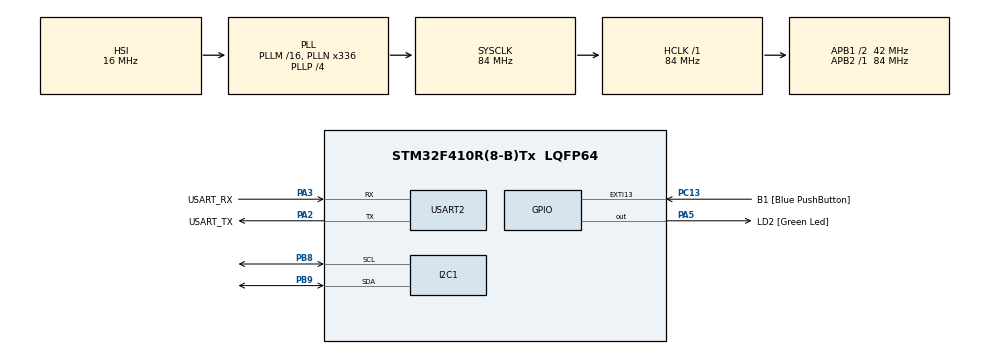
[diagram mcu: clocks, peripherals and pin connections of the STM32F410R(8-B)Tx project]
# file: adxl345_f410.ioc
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Mcu.Family=STM32F4
Mcu.Name=STM32F410R(8-B)Tx
Mcu.Package=LQFP64
NVIC.PriorityGroup=NVIC_PRIORITYGROUP_0
PA13.GPIO_Label=TMS
PA13.Mode=Serial_Wire
PA13.Signal=SYS_JTMS-SWDIO
PA14.GPIO_Label=TCK
PA14.Mode=Serial_Wire
PA14.Signal=SYS_JTCK-SWCLK
PA2.GPIO_Label=USART_TX
PA2.Mode=Asynchronous
PA2.Signal=USART2_TX
PA3.GPIO_Label=USART_RX
PA3.Mode=Asynchronous
PA3.Signal=USART2_RX
PA5.GPIO_Label=LD2 [Green Led]
PA5.Signal=GPIO_Output
PB3.GPIO_Label=SWO
PB3.Signal=SYS_JTDO-SWO
PB8.Mode=I2C
PB8.Signal=I2C1_SCL
PB9.Mode=I2C
PB9.Signal=I2C1_SDA
PC13-ANTI_TAMP.GPIO_Label=B1 [Blue PushButton]
PC13-ANTI_TAMP.GPIO_ModeDefaultEXTI=GPIO_MODE_IT_FALLING
PC13-ANTI_TAMP.Signal=GPXTI13
PC14-OSC32_IN.Mode=LSE-External-Oscillator
PC14-OSC32_IN.Signal=RCC_OSC32_IN
PC15-OSC32_OUT.Mode=LSE-External-Oscillator
PC15-OSC32_OUT.Signal=RCC_OSC32_OUT
PH0\ -\ OSC_IN.Mode=HSE-External-Clock-Source
PH0\ -\ OSC_IN.Signal=RCC_OSC_IN
PH1\ -\ OSC_OUT.Mode=HSE-External-Clock-Source
PH1\ -\ OSC_OUT.Signal=RCC_OSC_OUT
ProjectManager.HeapSize=0x200
ProjectManager.StackSize=0x400
ProjectManager.TargetToolchain=STM32CubeIDE
RCC.48MHZClocksFreq_Value=84000000
RCC.AHBFreq_Value=84000000
RCC.APB1CLKDivider=RCC_HCLK_DIV2
RCC.APB1Freq_Value=42000000
RCC.APB1TimFreq_Value=84000000
RCC.APB2Freq_Value=84000000
RCC.APB2TimFreq_Value=84000000
RCC.CortexFreq_Value=84000000
RCC.FLatency-AdvancedSettings=FLASH_LATENCY_2
RCC.HCLKFreq_Value=84000000
RCC.HSE_VALUE=8000000
RCC.HSI_VALUE=16000000
RCC.PLLN=336
RCC.PLLP=RCC_PLLP_DIV4
RCC.SYSCLKFreq_VALUE=84000000
RCC.SYSCLKSource=RCC_SYSCLKSOURCE_PLLCLK
RCC.VCOOutputFreq_Value=336000000
USART2.VirtualMode=VM_ASYNC
board=NUCLEO-F410RB

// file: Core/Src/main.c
/* USER CODE BEGIN Header */
/**
  ******************************************************************************
  * @file           : main.c
  * @brief          : Main program body
  ******************************************************************************
  * @attention
  *
  * <h2><center>&copy; Copyright (c) 2023 STMicroelectronics.
  * All rights reserved.</center></h2>
  *
  * This software component is licensed by ST under BSD 3-Clause license,
  * the "License"; You may not use this file except in compliance with the
  * License. You may obtain a copy of the License at:
  *                        opensource.org/licenses/BSD-3-Clause
  *
  ******************************************************************************
  */
/* USER CODE END Header */
#include "main.h"
#include "../ADXL345/adxl345_driver.h"

/* USER CODE BEGIN PTD */

typedef struct
{
	uint16_t x;
	uint16_t y;
	uint16_t z;
}accel_t;

/* USER CODE END PTD */

I2C_HandleTypeDef hi2c1;

UART_HandleTypeDef huart2;

/* USER CODE BEGIN PV */
uint8_t txData[10];
uint8_t rxData[6];
accel_t accel;
/* USER CODE END PV */

void SystemClock_Config(void);
static void MX_GPIO_Init(void);
static void MX_USART2_UART_Init(void);
static void MX_I2C1_Init(void);
/* USER CODE BEGIN PFP */

void parse_data (uint8_t* buffer, accel_t* a);

/* USER CODE END PFP */

int main(void)
{

  /* MCU Configuration--------------------------------------------------------*/

  /* Reset of all peripherals, Initializes the Flash interface and the Systick. */
  HAL_Init();

  /* Configure the system clock */
  SystemClock_Config();

  /* Initialize all configured peripherals */
  MX_GPIO_Init();
  MX_USART2_UART_Init();
  MX_I2C1_Init();
  /* USER CODE BEGIN 2 */

  // Handle pointer needs to be passed to use the driver
  set_i2c_handle(&hi2c1);								//! ADXL345 driver test

  // Wake up the device by writing 8 to the POWER_CTL register
  single_byte_write(ADXL345_REG_POWER_CTL, 8);			//! ADXL345 driver test

  HAL_Delay(10);

  /* USER CODE END 2 */

  /* Infinite loop */
  /* USER CODE BEGIN WHILE */
  while (1)
  {
	  // Read 3 axis measurements
	  multi_byte_read(ADXL345_REG_DATAX0, rxData, 6);	//! ADXL345 driver test

	  // Parse data to get useful information
	  // TODO: This will be refactored in the API layer
	  parse_data(rxData, &accel);						//! ADXL345 test

	  HAL_GPIO_TogglePin(LD2_GPIO_Port, LD2_Pin);
	  HAL_Delay(50);

    /* USER CODE END WHILE */

  }
}

void SystemClock_Config(void)
{
  RCC_OscInitTypeDef RCC_OscInitStruct = {0};
  RCC_ClkInitTypeDef RCC_ClkInitStruct = {0};

  /** Configure the main internal regulator output voltage
  */
  __HAL_RCC_PWR_CLK_ENABLE();
  __HAL_PWR_VOLTAGESCALING_CONFIG(PWR_REGULATOR_VOLTAGE_SCALE1);
  /** Initializes the RCC Oscillators according to the specified parameters
  * in the RCC_OscInitTypeDef structure.
  */
  RCC_OscInitStruct.OscillatorType = RCC_OSCILLATORTYPE_HSI;
  RCC_OscInitStruct.HSIState = RCC_HSI_ON;
  RCC_OscInitStruct.HSICalibrationValue = RCC_HSICALIBRATION_DEFAULT;
  RCC_OscInitStruct.PLL.PLLState = RCC_PLL_ON;
  RCC_OscInitStruct.PLL.PLLSource = RCC_PLLSOURCE_HSI;
  RCC_OscInitStruct.PLL.PLLM = 16;
  RCC_OscInitStruct.PLL.PLLN = 336;
  RCC_OscInitStruct.PLL.PLLP = RCC_PLLP_DIV4;
  RCC_OscInitStruct.PLL.PLLQ = 4;
  RCC_OscInitStruct.PLL.PLLR = 2;
  if (HAL_RCC_OscConfig(&RCC_OscInitStruct) != HAL_OK)
  {
    Error_Handler();
  }
  /** Initializes the CPU, AHB and APB buses clocks
  */
  RCC_ClkInitStruct.ClockType = RCC_CLOCKTYPE_HCLK|RCC_CLOCKTYPE_SYSCLK
                              |RCC_CLOCKTYPE_PCLK1|RCC_CLOCKTYPE_PCLK2;
  RCC_ClkInitStruct.SYSCLKSource = RCC_SYSCLKSOURCE_PLLCLK;
  RCC_ClkInitStruct.AHBCLKDivider = RCC_SYSCLK_DIV1;
  RCC_ClkInitStruct.APB1CLKDivider = RCC_HCLK_DIV2;
  RCC_ClkInitStruct.APB2CLKDivider = RCC_HCLK_DIV1;

  if (HAL_RCC_ClockConfig(&RCC_ClkInitStruct, FLASH_LATENCY_2) != HAL_OK)
  {
    Error_Handler();
  }
}

static void MX_I2C1_Init(void)
{

  hi2c1.Instance = I2C1;
  hi2c1.Init.ClockSpeed = 100000;
  hi2c1.Init.DutyCycle = I2C_DUTYCYCLE_2;
  hi2c1.Init.OwnAddress1 = 0;
  hi2c1.Init.AddressingMode = I2C_ADDRESSINGMODE_7BIT;
  hi2c1.Init.DualAddressMode = I2C_DUALADDRESS_DISABLE;
  hi2c1.Init.OwnAddress2 = 0;
  hi2c1.Init.GeneralCallMode = I2C_GENERALCALL_DISABLE;
  hi2c1.Init.NoStretchMode = I2C_NOSTRETCH_DISABLE;
  if (HAL_I2C_Init(&hi2c1) != HAL_OK)
  {
    Error_Handler();
  }

}

static void MX_USART2_UART_Init(void)
{

  huart2.Instance = USART2;
  huart2.Init.BaudRate = 115200;
  huart2.Init.WordLength = UART_WORDLENGTH_8B;
  huart2.Init.StopBits = UART_STOPBITS_1;
  huart2.Init.Parity = UART_PARITY_NONE;
  huart2.Init.Mode = UART_MODE_TX_RX;
  huart2.Init.HwFlowCtl = UART_HWCONTROL_NONE;
  huart2.Init.OverSampling = UART_OVERSAMPLING_16;
  if (HAL_UART_Init(&huart2) != HAL_OK)
  {
    Error_Handler();
  }

}

static void MX_GPIO_Init(void)
{
  GPIO_InitTypeDef GPIO_InitStruct = {0};

  /* GPIO Ports Clock Enable */
  __HAL_RCC_GPIOC_CLK_ENABLE();
  __HAL_RCC_GPIOH_CLK_ENABLE();
  __HAL_RCC_GPIOA_CLK_ENABLE();
  __HAL_RCC_GPIOB_CLK_ENABLE();

  /*Configure GPIO pin Output Level */
  HAL_GPIO_WritePin(LD2_GPIO_Port, LD2_Pin, GPIO_PIN_RESET);

  /*Configure GPIO pin : B1_Pin */
  GPIO_InitStruct.Pin = B1_Pin;
  GPIO_InitStruct.Mode = GPIO_MODE_IT_FALLING;
  GPIO_InitStruct.Pull = GPIO_NOPULL;
  HAL_GPIO_Init(B1_GPIO_Port, &GPIO_InitStruct);

  /*Configure GPIO pin : LD2_Pin */
  GPIO_InitStruct.Pin = LD2_Pin;
  GPIO_InitStruct.Mode = GPIO_MODE_OUTPUT_PP;
  GPIO_InitStruct.Pull = GPIO_NOPULL;
  GPIO_InitStruct.Speed = GPIO_SPEED_FREQ_LOW;
  HAL_GPIO_Init(LD2_GPIO_Port, &GPIO_InitStruct);

}

/* USER CODE BEGIN 4 */

void parse_data (uint8_t* buffer, accel_t* a)
{
	a->x = buffer[0] | buffer[1] << 8;
	a->y = buffer[2] | buffer[3] << 8;
	a->z = buffer[4] | buffer[5] << 8;
}

/* USER CODE END 4 */

void Error_Handler(void)
{
  __disable_irq();
  while (1)
  {
  }
}

/************************ (C) COPYRIGHT STMicroelectronics *****END OF FILE****/
